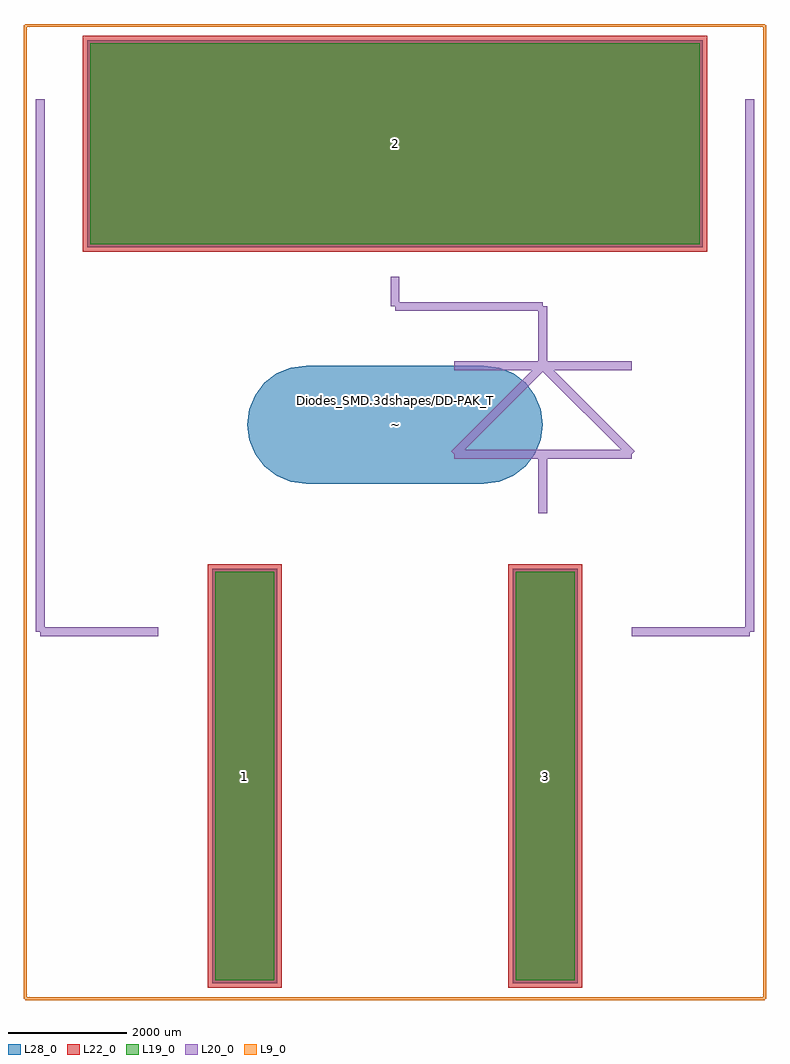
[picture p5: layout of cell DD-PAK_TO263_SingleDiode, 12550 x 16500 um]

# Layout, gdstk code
import gdstk
lib = gdstk.Library(unit=1e-6, precision=1e-09)
def R(c, l, rs):  # rectangles x0, y0, x1, y1
    for r in rs: c.add(gdstk.rectangle(r[:2], r[2:], *l))
def P(c, l, *ps):  # polygons
    for p in ps: c.add(gdstk.Polygon(p, *l))
L9_0 = (9, 0)
L19_0 = (19, 0)
L20_0 = (20, 0)
L22_0 = (22, 0)
L28_0 = (28, 0)

dd_pak_to263_singlediode = lib.new_cell('DD-PAK_TO263_SingleDiode')
R(dd_pak_to263_singlediode, L19_0, [(-3039.91,-7895.12,-2040.09,-984.72), (2040.09,-7895.12,3039.91,-984.72), (-5154.46,4550.88,5154.46,7951)])
R(dd_pak_to263_singlediode, L22_0, [(-3164.91,-8020.12,-1915.09,-859.72), (1915.09,-8020.12,3164.91,-859.72), (-5279.46,4425.88,5279.46,8076)])
R(dd_pak_to263_singlediode, L28_0, [(-3089.91,-7945.12,-1990.09,-934.72), (1990.09,-7945.12,3089.91,-934.72), (-5204.46,4500.88,5204.46,8001)])
P(dd_pak_to263_singlediode, L28_0, [(-1501.14,501.65),(1501.14,501.65),(1759.827,535.707),(2000.885,635.556),(2207.886,794.394),(2366.724,1001.395),(2466.573,1242.453),(2500.63,1501.14),(2466.573,1759.827),(2366.724,2000.885),(2207.886,2207.886),(2000.885,2366.724),(1759.827,2466.573),(1501.14,2500.63),(-1501.14,2500.63),(-1759.827,2466.573),(-2000.885,2366.724),(-2207.886,2207.886),(-2366.724,2000.885),(-2466.573,1759.827),(-2500.63,1501.14),(-2466.573,1242.453),(-2366.724,1001.395),(-2207.886,794.394),(-2000.885,635.556),(-1759.827,535.707)])
dd_pak_to263_singlediode.add(gdstk.FlexPath([(-5999.48,-1998.98),(-4000.5,-1998.98)], 149.998, ends="flush", simple_path=True, layer=20, datatype=0))  # L20_0
dd_pak_to263_singlediode.add(gdstk.FlexPath([(-5999.48,7000.24),(-5999.48,-1998.98)], 149.998, ends="flush", simple_path=True, layer=20, datatype=0))  # L20_0
dd_pak_to263_singlediode.add(gdstk.FlexPath([(5999.48,-1998.98),(5999.48,7000.24)], 149.998, ends="flush", simple_path=True, layer=20, datatype=0))  # L20_0
dd_pak_to263_singlediode.add(gdstk.FlexPath([(4000.5,-1998.98),(5999.48,-1998.98)], 149.998, ends="flush", simple_path=True, layer=20, datatype=0))  # L20_0
dd_pak_to263_singlediode.add(gdstk.FlexPath([(1000.76,1000.76),(4000.5,1000.76)], 149.998, ends="flush", simple_path=True, layer=20, datatype=0))  # L20_0
dd_pak_to263_singlediode.add(gdstk.FlexPath([(2499.36,2499.36),(1000.76,1000.76)], 149.998, ends="flush", simple_path=True, layer=20, datatype=0))  # L20_0
dd_pak_to263_singlediode.add(gdstk.FlexPath([(4000.5,1000.76),(2499.36,2499.36)], 149.998, ends="flush", simple_path=True, layer=20, datatype=0))  # L20_0
dd_pak_to263_singlediode.add(gdstk.FlexPath([(1000.76,2499.36),(4000.5,2499.36)], 149.998, ends="flush", simple_path=True, layer=20, datatype=0))  # L20_0
dd_pak_to263_singlediode.add(gdstk.FlexPath([(0,3500.12),(0,4000.5)], 149.998, ends="flush", simple_path=True, layer=20, datatype=0))  # L20_0
dd_pak_to263_singlediode.add(gdstk.FlexPath([(2499.36,3500.12),(0,3500.12)], 149.998, ends="flush", simple_path=True, layer=20, datatype=0))  # L20_0
dd_pak_to263_singlediode.add(gdstk.FlexPath([(2499.36,2499.36),(2499.36,3500.12)], 149.998, ends="flush", simple_path=True, layer=20, datatype=0))  # L20_0
dd_pak_to263_singlediode.add(gdstk.FlexPath([(2499.36,1000.76),(2499.36,0)], 149.998, ends="flush", simple_path=True, layer=20, datatype=0))  # L20_0
dd_pak_to263_singlediode.add(gdstk.FlexPath([(-6250,-8200),(-6250,8250)], 50, ends="flush", simple_path=True, layer=9, datatype=0))  # L9_0
dd_pak_to263_singlediode.add(gdstk.FlexPath([(6250,-8200),(-6250,-8200)], 50, ends="flush", simple_path=True, layer=9, datatype=0))  # L9_0
dd_pak_to263_singlediode.add(gdstk.FlexPath([(6250,8250),(6250,-8200)], 50, ends="flush", simple_path=True, layer=9, datatype=0))  # L9_0
dd_pak_to263_singlediode.add(gdstk.FlexPath([(-6250,8250),(6250,8250)], 50, ends="flush", simple_path=True, layer=9, datatype=0))  # L9_0
dd_pak_to263_singlediode.add(gdstk.Label('Diodes_SMD.3dshapes/DD-PAK_TO263_SingleDiode.wrl', (0,1905), layer=12, texttype=0))
dd_pak_to263_singlediode.add(gdstk.Label('~', (0,1501.14), layer=28, texttype=0))
dd_pak_to263_singlediode.add(gdstk.Label('3', (2540,-4439.92), layer=28, texttype=0))
dd_pak_to263_singlediode.add(gdstk.Label('1', (-2540,-4439.92), layer=28, texttype=0))
dd_pak_to263_singlediode.add(gdstk.Label('2', (0,6250.94), layer=28, texttype=0))
dd_pak_to263_singlediode.add(gdstk.Label('type', (500.38,-9751.06), layer=9, texttype=0))
dd_pak_to263_singlediode.add(gdstk.Label('devicename', (-200.66,9448.8), layer=9, texttype=0))

lib.write_gds('DD-PAK_TO263_SingleDiode.gds')
